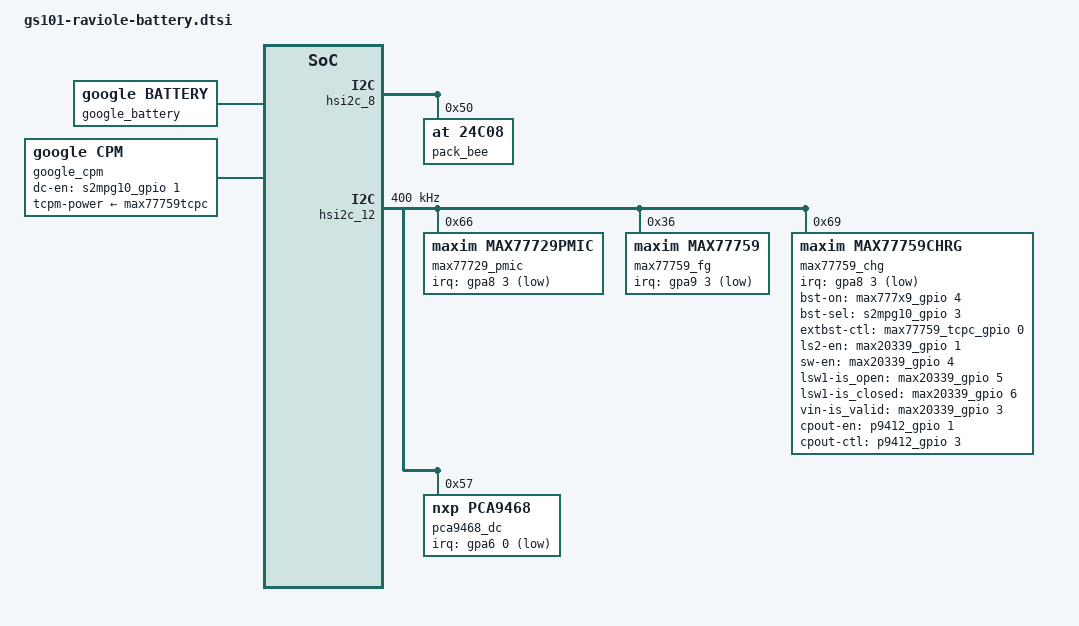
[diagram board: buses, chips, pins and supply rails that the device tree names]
// SPDX-License-Identifier: GPL-2.0-only
/*
 * Battery device tree entries specific to raviole
 *
 * Copyright 2020 Google,LLC
 *
 */

/ {
	fragment@battery {
		target-path = "/";
		__overlay__ {

			google_battery: google,battery {
				status = "okay";
				compatible = "google,battery";
				#cooling-cells = <2>;
				google,fg-psy-name = "maxfg";

				/* charge table */
				google,chg-temp-limits = <0 100 200 420 460 480 550>;
				google,chg-cv-limits = <4200000 4300000 4450000>;
				google,chg-cc-limits = <
				 30  10   0
				 50  30  30
				100  70  50
				 80  50  50
				 50  50   0
				 30   0   0
				>;

				google,ttf-temp-idx= <2>;
				google,ttf-adapter = <1800>;
				google,ttf-soc-table =  <49 59 72 78 93 95  98 100>;
				google,ttf-elap-table = <45 52 56 67 78 91 104 120>;
				google,ttf-tier-table = <0 71 78>;

				/* IRDrop Compensation */
				google,fv-uv-resolution = <10000>;
				/* NOTE: high value for DC charging */
				google,fv-uv-margin-dpct = <1025>;
				/* tier switch */
				google,cv-range-accuracy = <20000>;
				google,cv-otv-margin = <12000>;
				google,cv-debounce-cnt = <3>;
				google,cv-tier-ov-cnt = <10>;
				google,cv-tier-switch-cnt = <3>;

				#thermal-sensor-cells = <0>;
			};

			google_cpm: google,cpm {
				status = "okay";
				compatible = "google,cpm";
				google,chg-power-supplies = "main-charger",
							    "pca9468-mains";

				/* S2MPG10X01 -> GPIO_1 -> CHARGE_PUMP_EN */
				google,dc-en = <&s2mpg10_gpio 1 0>;
				/* DC enabled by default */
				google,dc-en-value = <1>;
				google,dc_limit-demand = <10012500>;
				google,dc_limit-vbatt = <4350000>;

				google,tcpm-power-supply = <&max77759tcpc>;
				google,wlc_dc-power-supply = "wireless";
				google,pps-awake;
			};

			google_charger: google,charger {
				status = "okay";
				compatible = "google,charger";
				#cooling-cells = <2>;

				google,chg-power-supply = "gcpm";
				google,bat-power-supply = "battery";
				google,usb-power-supply = "usb";

				google,fv-max-uv = <4450000>;

				google,thermal-mitigation = <4000000 3000000
							2000000 1000000 500000>;
				google,wlc-thermal-mitigation = <1100000 500000 250000 110000>;
				google,therm-wlc-overrides-fcc;
			};

			google_bms {
				nvmem = <&pack_bee>;
			};

		};
	};
};

&pinctrl_0 {
/* [MAX77759: FG_INTB] > FG_INT_L > [XEINT_23 : SC59845XWE] */
	if_pmic_fg_irq: if-pmic-fg-irq {
		samsung,pins = "gpa9-3"; /* XEINT_23 */
		samsung,pin-function = <EXYNOS_PIN_FUNC_EINT>;
		samsung,pin-pud = <EXYNOS_PIN_PULL_UP>;
		samsung,pin-drv = <GS101_PIN_DRV_2_5_MA>;
	};
};

&pinctrl_1 {
/* [MAX77729FEWN : INTB] > IF_PMIC_IRQ_L > [XEINT_15 : SC59845XWE] */
	if_pmic_irq: if-pmic-irq {
		samsung,pins = "gpa8-3";
		samsung,pin-function = <EXYNOS_PIN_FUNC_EINT>;
		samsung,pin-pud = <EXYNOS_PIN_PULL_UP>;
		samsung,pin-drv = <GS101_PIN_DRV_2_5_MA>;
	};

	dc_charger_irq: dc-charger-irq {
		samsung,pins = "gpa6-0"; /* XEINT_0 (PLC_INT_L) */
		samsung,pin-function = <EXYNOS_PIN_FUNC_EINT>;
		samsung,pin-pud = <EXYNOS_PIN_PULL_NONE>;
	};
};

&hsi2c12_bus {
	samsung,pins = "gpp23-4", "gpp23-5";
	samsung,pin-pud = <EXYNOS_PIN_PULL_UP>;
};

&hsi2c_8 {
	#address-cells = <1>;
	#size-cells = <0>;
	status = "okay";

	pinctrl-names = "default";
	pinctrl-0 = <&hsi2c8_bus>;

	pack_bee: m24c08@50 {
		status = "okay";
		compatible = "at,24c08";

		reg = <0x50>;
	};
};

&hsi2c_12 {

	#address-cells = <1>;
	#size-cells = <0>;
	status = "okay";
	clock-frequency = <400000>;

	/* also as max77759 pmic  */
	max77729_pmic:max77729pmic@0x66 {
		status = "okay";
		compatible = "maxim,max77729pmic";
		reg = <0x66>;

		pinctrl-names = "default";
		pinctrl-0 = <&if_pmic_irq>;
		max777x9,irq-gpio = <&gpa8 3 GPIO_ACTIVE_LOW>;

		max77759,max_m5 = <&max77759_fg>;

		max777x9_gpio: max777x9_gpio {
			gpio-controller;
			#gpio-cells = <2>;
			ngpios = <6>;
		};
	};

	max77759_fg:max77759fg@0x36 {
		status = "okay";
		compatible = "maxim,max77759";
		reg = <0x36>;

		/* FG_INT_L -> XEINT_23 */
		pinctrl-names = "default";
		pinctrl-0 = <&if_pmic_fg_irq>;
		maxim,irq-gpio = <&gpa9 3 GPIO_ACTIVE_LOW>;

		maxim,gauge-type = <2>;
		maxim,rsense-default = <500>;

		/* no needed for EEPROM */
		maxim,batt-id-range-pct = <0>;

		maxim,psy-type-unknown;
	};

	max77759_chg:max77759chrg@0x69 {
		status = "okay";
		compatible = "maxim,max77759chrg";
		reg = <0x69>;

		interrupt-parent = <&gpa8>;
		max77759,irq-gpio = <&gpa8 3 GPIO_ACTIVE_LOW>;
		max77759,psy-name = "main-charger";

		max77759,max_m5 = <&max77759_fg>;
		max77759,pmic = <&max77729_pmic>;

		#thermal-sensor-cells = <1>;

		/* system use cases */
		max77759,bst-on = <&max777x9_gpio 4 GPIO_ACTIVE_HIGH>;
		max77759,bst-sel = <&s2mpg10_gpio 3 GPIO_ACTIVE_HIGH>;
		max77759,extbst-ctl = <&max77759_tcpc_gpio 0 GPIO_ACTIVE_HIGH>;
		max77759,ls2-en = <&max20339_gpio 1 GPIO_ACTIVE_HIGH>;
		max77759,sw-en = <&max20339_gpio 4 GPIO_ACTIVE_HIGH>;
		max77759,lsw1-is_open = <&max20339_gpio 5 GPIO_ACTIVE_HIGH>;
		max77759,lsw1-is_closed = <&max20339_gpio 6 GPIO_ACTIVE_HIGH>;
		max77759,vin-is_valid =  <&max20339_gpio 3 GPIO_ACTIVE_HIGH>;

		max77759,cpout-en =  <&p9412_gpio 1 GPIO_ACTIVE_HIGH>;
		max77759,cpout-ctl =  <&p9412_gpio 3 GPIO_ACTIVE_HIGH>;
	};

	pca9468_dc: pca9468@57 {
		compatible = "nxp,pca9468";
		reg = <0x57>;

		pinctrl-names = "default";
		pinctrl-0 = <&dc_charger_irq>;

		interrupt-parent = <&gpa6>;
		pca9468,irq-gpio = <&gpa6 0 GPIO_ACTIVE_LOW>; /* PLC_INT_L */

		pca9468,float-voltage = <4300000>; /* 4.3V */

		pca9468,input-itopoff = <500000>; /* 500mA */
		pca9468,sense-resistance = <0>; /* 5mOhm */
		pca9468,switching-frequency = <3>; /* 980KHz */

		/* disable USBC NTC */
		pca9468,ntc-threshold = <0>; /* disabled */

		/* USBC thermal zone */
		google,usb-port-tz-name = "usbc-therm-adc";

		pca9468,google_cpm = <&google_cpm>;
	};

};


